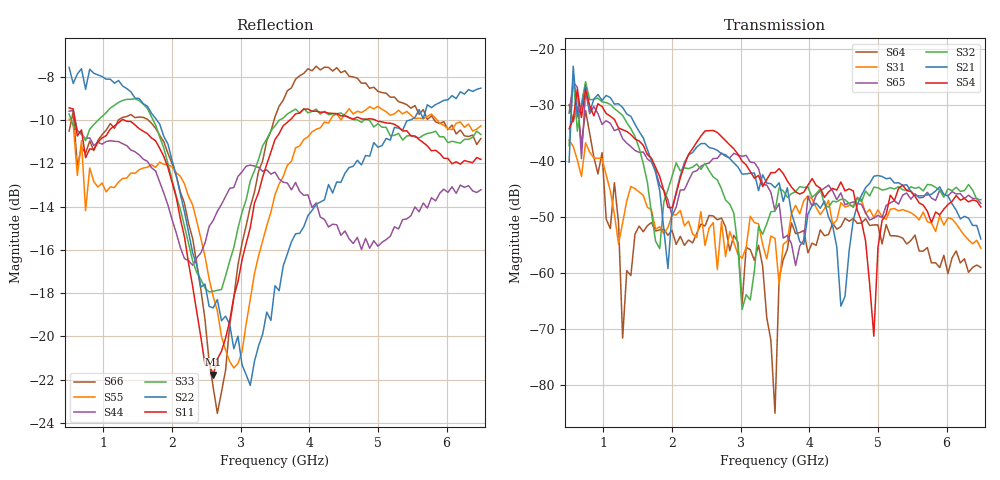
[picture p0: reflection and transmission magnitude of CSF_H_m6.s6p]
!Keysight Technologies,M9804A,MY58100912,A.14.10.03
!Date: Thursday, April 27, 2023 10:28:33
!Correction: S11(C  6-Port  )
!S12(C  6-Port  )
!S13(C  6-Port  )
!S14(C  6-Port  )
!S15(C  6-Port  )
!S16(C  6-Port  )
!S21(C  6-Port  )
!S22(C  6-Port  )
!S23(C  6-Port  )
!S24(C  6-Port  )
!S25(C  6-Port  )
!S26(C  6-Port  )
!S31(C  6-Port  )
!S32(C  6-Port  )
!S33(C  6-Port  )
!S34(C  6-Port  )
!S35(C  6-Port  )
!S36(C  6-Port  )
!S41(C  6-Port  )
!S42(C  6-Port  )
!S43(C  6-Port  )
!S44(C  6-Port  )
!S45(C  6-Port  )
!S46(C  6-Port  )
!S51(C  6-Port  )
!S52(C  6-Port  )
!S53(C  6-Port  )
!S54(C  6-Port  )
!S55(C  6-Port  )
!S56(C  6-Port  )
!S61(C  6-Port  )
!S62(C  6-Port  )
!S63(C  6-Port  )
!S64(C  6-Port  )
!S65(C  6-Port  )
!S66(C  6-Port  )
!S6P File: Measurement: :
# Hz S  RI  R 50
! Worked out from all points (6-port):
!   101 points, 500 MHz to 6.5 GHz, reference 50 ohm
!   strongest paths, dB at 500 MHz, 2 GHz, 3.5 GHz, 5 GHz, 6.5 GHz:
!     S54: -34.2, -48.4, -42.1, -55.5, -48.2
!     S21: -40.2, -48.9, -44.8, -42.6, -53.9
!     S32: -37.3, -42.7, -49.0, -44.8, -46.9
!     S65: -31.4, -49.8, -48.9, -49.7, -47.6
!     S31: -36.3, -49.6, -53.8, -48.7, -55.6
!     S64: -29.9, -52.4, -85.1, -51.4, -59.0
!   lowest |S11| = -21.8 dB at 2.6 GHz (marker M1), VSWR 1.18, Z = 42.7 + j1.97 ohm
!   |S11| at or under -10 dB: 584.7 MHz to 1.268 GHz (682.9 MHz wide, 73.7 % of centre); 1.303 GHz to 3.717 GHz (2.414 GHz wide, 96.2 % of centre); 4.964 GHz to end of sweep
